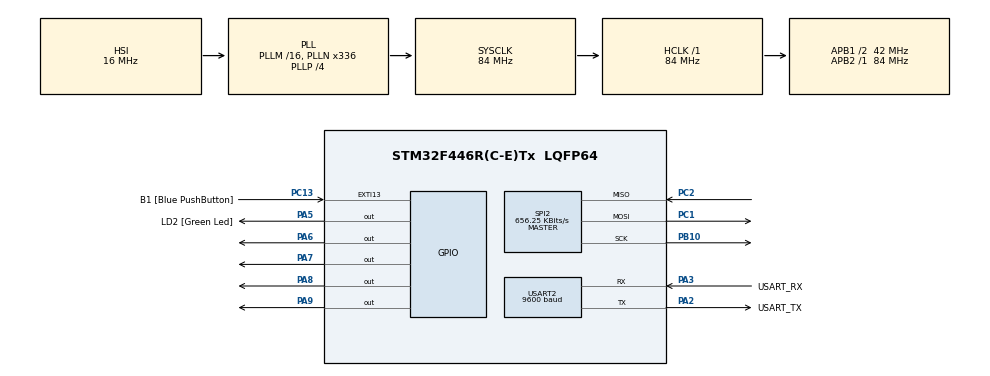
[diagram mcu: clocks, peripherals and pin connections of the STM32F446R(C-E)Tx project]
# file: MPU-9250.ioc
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Mcu.Family=STM32F4
Mcu.Name=STM32F446R(C-E)Tx
Mcu.Package=LQFP64
NVIC.PriorityGroup=NVIC_PRIORITYGROUP_0
PA13.GPIO_Label=TMS
PA13.Mode=Serial_Wire
PA13.Signal=SYS_JTMS-SWDIO
PA14.GPIO_Label=TCK
PA14.Mode=Serial_Wire
PA14.Signal=SYS_JTCK-SWCLK
PA2.GPIO_Label=USART_TX
PA2.Mode=Asynchronous
PA2.Signal=USART2_TX
PA3.GPIO_Label=USART_RX
PA3.Mode=Asynchronous
PA3.Signal=USART2_RX
PA5.GPIO_Label=LD2 [Green Led]
PA5.Signal=GPIO_Output
PA6.Signal=GPIO_Output
PA7.Signal=GPIO_Output
PA8.Signal=GPIO_Output
PA9.Signal=GPIO_Output
PB10.Mode=Full_Duplex_Master
PB10.Signal=SPI2_SCK
PB3.GPIO_Label=SWO
PB3.Signal=SYS_JTDO-SWO
PC1.Mode=Full_Duplex_Master
PC1.Signal=SPI2_MOSI
PC13.GPIO_Label=B1 [Blue PushButton]
PC13.GPIO_ModeDefaultEXTI=GPIO_MODE_IT_FALLING
PC13.Signal=GPXTI13
PC14-OSC32_IN.Mode=LSE-External-Oscillator
PC14-OSC32_IN.Signal=RCC_OSC32_IN
PC15-OSC32_OUT.Mode=LSE-External-Oscillator
PC15-OSC32_OUT.Signal=RCC_OSC32_OUT
PC2.Mode=Full_Duplex_Master
PC2.Signal=SPI2_MISO
PH0-OSC_IN.Mode=HSE-External-Oscillator
PH0-OSC_IN.Signal=RCC_OSC_IN
PH1-OSC_OUT.Mode=HSE-External-Oscillator
PH1-OSC_OUT.Signal=RCC_OSC_OUT
ProjectManager.HeapSize=0x200
ProjectManager.StackSize=0x400
ProjectManager.TargetToolchain=STM32CubeIDE
RCC.48MHZClocksFreq_Value=84000000
RCC.AHBFreq_Value=84000000
RCC.APB1CLKDivider=RCC_HCLK_DIV2
RCC.APB1Freq_Value=42000000
RCC.APB1TimFreq_Value=84000000
RCC.APB2Freq_Value=84000000
RCC.APB2TimFreq_Value=84000000
RCC.CortexFreq_Value=84000000
RCC.FLatency-AdvancedSettings=FLASH_LATENCY_2
RCC.HCLKFreq_Value=84000000
RCC.HSE_VALUE=8000000
RCC.HSI_VALUE=16000000
RCC.PLLN=336
RCC.PLLP=RCC_PLLP_DIV4
RCC.SYSCLKFreq_VALUE=84000000
RCC.SYSCLKSource=RCC_SYSCLKSOURCE_PLLCLK
RCC.USBFreq_Value=168000000
RCC.VCOOutputFreq_Value=336000000
SPI2.BaudRatePrescaler=SPI_BAUDRATEPRESCALER_64
SPI2.CLKPhase=SPI_PHASE_2EDGE
SPI2.CLKPolarity=SPI_POLARITY_HIGH
SPI2.CalculateBaudRate=656.25 KBits/s
SPI2.DataSize=SPI_DATASIZE_8BIT
SPI2.Direction=SPI_DIRECTION_2LINES
SPI2.FirstBit=SPI_FIRSTBIT_MSB
SPI2.Mode=SPI_MODE_MASTER
SPI2.VirtualType=VM_MASTER
USART2.BaudRate=9600
USART2.VirtualMode=VM_ASYNC
USART2.WordLength=WORDLENGTH_8B
board=NUCLEO-F446RE

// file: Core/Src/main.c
/* USER CODE BEGIN Header */
/**
  ******************************************************************************
  * @file           : main.c
  * @brief          : Main program body
  ******************************************************************************
  * @attention
  *
  * <h2><center>&copy; Copyright (c) 2021 STMicroelectronics.
  * All rights reserved.</center></h2>
  *
  * This software component is licensed by ST under BSD 3-Clause license,
  * the "License"; You may not use this file except in compliance with the
  * License. You may obtain a copy of the License at:
  *                        opensource.org/licenses/BSD-3-Clause
  *
  ******************************************************************************
  */
/* USER CODE END Header */
#include "main.h"
#include "spi.h"
#include "usart.h"
#include "gpio.h"

/* USER CODE BEGIN Includes */
#include <string.h>
#include <stdio.h>
#include "MPU9250_Config.h"

/* USER CODE END Includes */

/* USER CODE BEGIN PV */
//uint8_t _buffer[21];
/* USER CODE END PV */

void SystemClock_Config(void);

int main(void)
{
  /* USER CODE BEGIN 1 */
	//uint8_t message[] = "hello world\r\n";
  int16_t AccData[3] = {0, 0, 0} , GyroData[3] = {0, 0, 0}, MagData[3] = {0, 0, 0};

  /* USER CODE END 1 */

  /* MCU Configuration--------------------------------------------------------*/

  /* Reset of all peripherals, Initializes the Flash interface and the Systick. */
  HAL_Init();

  /* Configure the system clock */
  SystemClock_Config();

  /* Initialize all configured peripherals */
  MX_GPIO_Init();
  MX_USART2_UART_Init();
  MX_SPI2_Init();

  /* Infinite loop */
  /* USER CODE BEGIN WHILE */

  /* Buffers to store the print statements*/
  uint16_t ref = whoAmI();
  char kk[255];

  /* Lower CS for IMUs 2,3,4 */
  MPU9250_Deactivate(MPU9250_2_CS_PIN);
  MPU9250_Deactivate(MPU9250_3_CS_PIN);
  MPU9250_Deactivate(MPU9250_4_CS_PIN);

  /*Initialize the four IMUs */
  MPU9250_Init(MPU9250_1_CS_PIN);
  MPU9250_Init(MPU9250_2_CS_PIN);
  MPU9250_Init(MPU9250_3_CS_PIN);
  MPU9250_Init(MPU9250_4_CS_PIN);

  while (1)
  {
    /* USER CODE END WHILE */

    /* USER CODE BEGIN 3 */

	  /* Read IMU 1 */
	  MPU9250_GetData(AccData, GyroData, MagData, MPU9250_1_CS_PIN);

	  ref = sprintf(kk,"\t IMU 1 \r\n\n ax = %.3f  g's \r\n ay = %.3f  g's \r\n az = %.3f  g's \r\n wx = %.3f  deg/s \r\n wy = %.3f  deg/s \r\n wz = %.3f  deg/s \r\n mx = %.3f  µT \r\n my = %.3f  µT \r\n mz = %.3f  µT \r\n------------------ \r\n\n",
	  		(float)AccData[0]/2048.0, (float)AccData[1]/2048.0, (float)AccData[2]/2048.0,
	  		(float)GyroData[0]/16.4, (float)GyroData[1]/16.4, (float)GyroData[2]/16.4,
	  		(float)MagData[0]*0.6, (float)MagData[1]*0.6, (float)MagData[2]*0.6);

	  HAL_GPIO_WritePin(GPIOA,GPIO_PIN_5, GPIO_PIN_SET);
	  HAL_UART_Transmit(&huart2, kk, ref, 1000);

	  HAL_GPIO_WritePin(GPIOA,GPIO_PIN_5, GPIO_PIN_RESET);
	  HAL_Delay(1000);

	  /* Read IMU 2 */
	  MPU9250_GetData(AccData, GyroData, MagData, MPU9250_2_CS_PIN);

	  ref = sprintf(kk,"\t IMU 2 \r\n\n ax = %.3f  g's \r\n ay = %.3f  g's \r\n az = %.3f  g's \r\n wx = %.3f  deg/s \r\n wy = %.3f  deg/s \r\n wz = %.3f  deg/s \r\n mx = %.3f  µT \r\n my = %.3f  µT \r\n mz = %.3f  µT \r\n------------------ \r\n\n",
		(float)AccData[0]/2048.0, (float)AccData[1]/2048.0, (float)AccData[2]/2048.0,
		(float)GyroData[0]/16.4, (float)GyroData[1]/16.4, (float)GyroData[2]/16.4,
		(float)MagData[0]*0.6, (float)MagData[1]*0.6, (float)MagData[2]*0.6);

	  HAL_GPIO_WritePin(GPIOA,GPIO_PIN_5, GPIO_PIN_SET);
	  HAL_UART_Transmit(&huart2, kk, ref, 1000);

	  HAL_GPIO_WritePin(GPIOA,GPIO_PIN_5, GPIO_PIN_RESET);
	  HAL_Delay(1000);

	  /* Read IMU 3 */
	  MPU9250_GetData(AccData, GyroData, MagData, MPU9250_3_CS_PIN);

	  ref = sprintf(kk,"\t IMU 3 \r\n\n ax = %.3f  g's \r\n ay = %.3f  g's \r\n az = %.3f  g's \r\n wx = %.3f  deg/s \r\n wy = %.3f  deg/s \r\n wz = %.3f  deg/s \r\n mx = %.3f  µT \r\n my = %.3f  µT \r\n mz = %.3f  µT \r\n------------------ \r\n\n",
			(float)AccData[0]/2048.0, (float)AccData[1]/2048.0, (float)AccData[2]/2048.0,
			(float)GyroData[0]/16.4, (float)GyroData[1]/16.4, (float)GyroData[2]/16.4,
			(float)MagData[0]*0.6, (float)MagData[1]*0.6, (float)MagData[2]*0.6);

	  HAL_GPIO_WritePin(GPIOA,GPIO_PIN_5, GPIO_PIN_SET);
	  HAL_UART_Transmit(&huart2, kk, ref, 1000);

	  HAL_GPIO_WritePin(GPIOA,GPIO_PIN_5, GPIO_PIN_RESET);
	  HAL_Delay(1000);

	  /* Read IMU 4 */
	  MPU9250_GetData(AccData, GyroData, MagData, MPU9250_4_CS_PIN);

	  ref = sprintf(kk,"\t IMU 4 \r\n\n ax = %.3f  g's \r\n ay = %.3f  g's \r\n az = %.3f  g's \r\n wx = %.3f  deg/s \r\n wy = %.3f  deg/s \r\n wz = %.3f  deg/s \r\n mx = %.3f  µT \r\n my = %.3f  µT \r\n mz = %.3f  µT \r\n------------------ \r\n\n",
			(float)AccData[0]/2048.0, (float)AccData[1]/2048.0, (float)AccData[2]/2048.0,
			(float)GyroData[0]/16.4, (float)GyroData[1]/16.4, (float)GyroData[2]/16.4,
			(float)MagData[0]*0.6, (float)MagData[1]*0.6, (float)MagData[2]*0.6);

	  HAL_GPIO_WritePin(GPIOA,GPIO_PIN_5, GPIO_PIN_SET);
	  HAL_UART_Transmit(&huart2, kk, ref, 1000);

	  HAL_GPIO_WritePin(GPIOA,GPIO_PIN_5, GPIO_PIN_RESET);
	  HAL_Delay(1000);

  }
  /* USER CODE END 3 */
}

void SystemClock_Config(void)
{
  RCC_OscInitTypeDef RCC_OscInitStruct = {0};
  RCC_ClkInitTypeDef RCC_ClkInitStruct = {0};

  /** Configure the main internal regulator output voltage
  */
  __HAL_RCC_PWR_CLK_ENABLE();
  __HAL_PWR_VOLTAGESCALING_CONFIG(PWR_REGULATOR_VOLTAGE_SCALE3);
  /** Initializes the RCC Oscillators according to the specified parameters
  * in the RCC_OscInitTypeDef structure.
  */
  RCC_OscInitStruct.OscillatorType = RCC_OSCILLATORTYPE_HSI;
  RCC_OscInitStruct.HSIState = RCC_HSI_ON;
  RCC_OscInitStruct.HSICalibrationValue = RCC_HSICALIBRATION_DEFAULT;
  RCC_OscInitStruct.PLL.PLLState = RCC_PLL_ON;
  RCC_OscInitStruct.PLL.PLLSource = RCC_PLLSOURCE_HSI;
  RCC_OscInitStruct.PLL.PLLM = 16;
  RCC_OscInitStruct.PLL.PLLN = 336;
  RCC_OscInitStruct.PLL.PLLP = RCC_PLLP_DIV4;
  RCC_OscInitStruct.PLL.PLLQ = 2;
  RCC_OscInitStruct.PLL.PLLR = 2;
  if (HAL_RCC_OscConfig(&RCC_OscInitStruct) != HAL_OK)
  {
    Error_Handler();
  }
  /** Initializes the CPU, AHB and APB buses clocks
  */
  RCC_ClkInitStruct.ClockType = RCC_CLOCKTYPE_HCLK|RCC_CLOCKTYPE_SYSCLK
                              |RCC_CLOCKTYPE_PCLK1|RCC_CLOCKTYPE_PCLK2;
  RCC_ClkInitStruct.SYSCLKSource = RCC_SYSCLKSOURCE_PLLCLK;
  RCC_ClkInitStruct.AHBCLKDivider = RCC_SYSCLK_DIV1;
  RCC_ClkInitStruct.APB1CLKDivider = RCC_HCLK_DIV2;
  RCC_ClkInitStruct.APB2CLKDivider = RCC_HCLK_DIV1;

  if (HAL_RCC_ClockConfig(&RCC_ClkInitStruct, FLASH_LATENCY_2) != HAL_OK)
  {
    Error_Handler();
  }
}

void Error_Handler(void)
{
}

/************************ (C) COPYRIGHT STMicroelectronics *****END OF FILE****/
